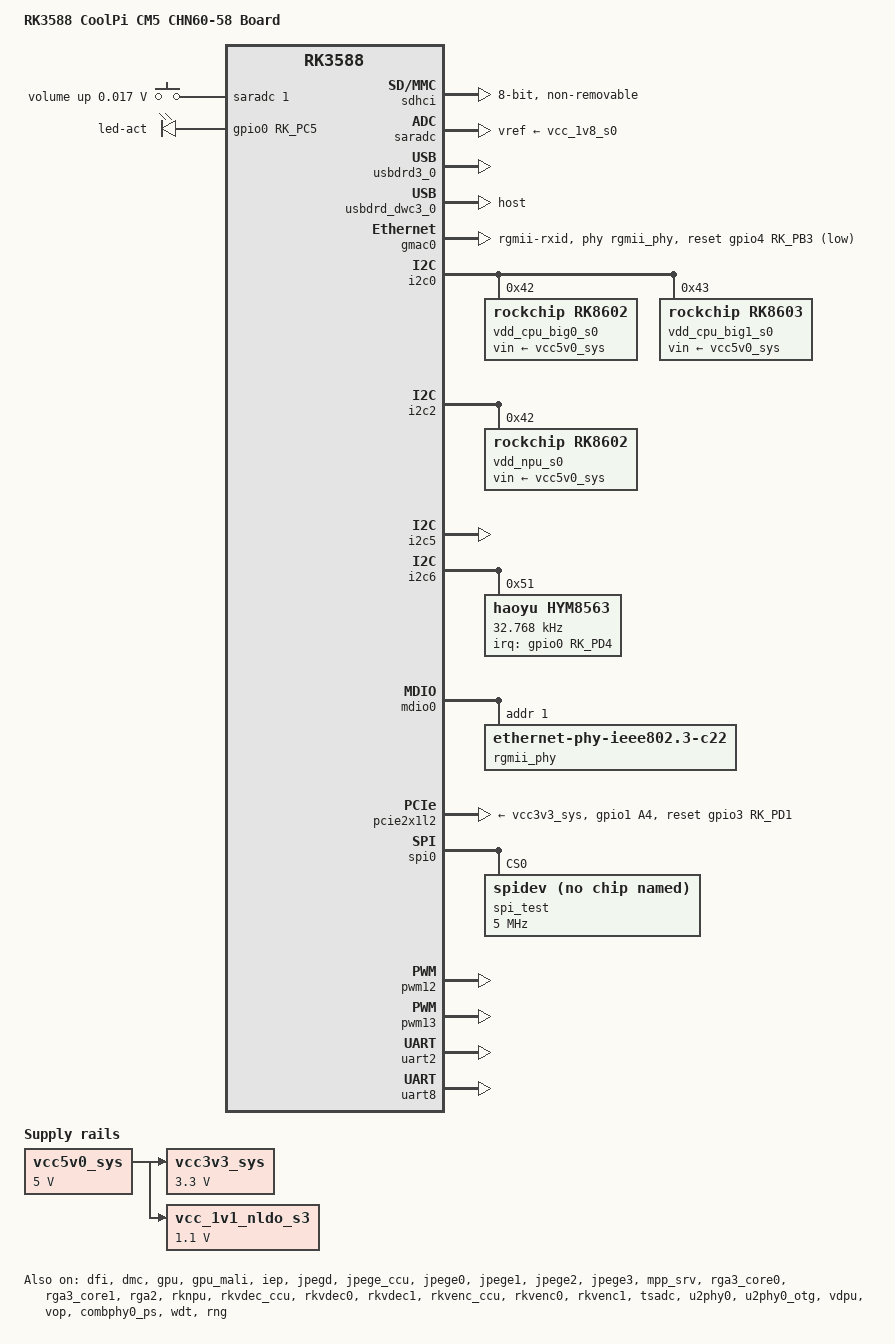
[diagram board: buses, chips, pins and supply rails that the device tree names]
// SPDX-License-Identifier: (GPL-2.0+ OR MIT)
/*
 * Copyright (c) 2021 Rockchip Electronics Co., Ltd.
 *
 */

/dts-v1/;

#include "dt-bindings/usb/pd.h"
#include "rk3588.dtsi"
#include <dt-bindings/gpio/gpio.h>
#include <dt-bindings/pwm/pwm.h>
#include <dt-bindings/pinctrl/rockchip.h>
#include <dt-bindings/input/rk-input.h>
#include <dt-bindings/display/drm_mipi_dsi.h>
#include <dt-bindings/display/rockchip_vop.h>
#include <dt-bindings/sensor-dev.h>
#include "rk3588-rk806-single.dtsi"

/ {
	model = "RK3588 CoolPi CM5 CHN60-58 Board";
	compatible = "rockchip,rk3588-core", "rockchip,rk3588";
	
	aliases {
		mmc0 = &sdhci;
		mmc1 = &sdio;
		mmc2 = &sdmmc;
		serial0 = &uart2;
		serial1 = &uart7;
		serial2 = &uart6;
		serial3 = &uart3;
		serial4 = &uart4;
		serial5 = &uart5;
		serial6 = &uart0;
		serial7 = &uart9;
		serial8 = &uart8;
		serial9 = &uart1;
	};

	cspmu: cspmu@fd10c000 {
		compatible = "rockchip,cspmu";
		reg = <0x0 0xfd10c000 0x0 0x1000>,
		      <0x0 0xfd10d000 0x0 0x1000>,
		      <0x0 0xfd10e000 0x0 0x1000>,
		      <0x0 0xfd10f000 0x0 0x1000>,
		      <0x0 0xfd12c000 0x0 0x1000>,
		      <0x0 0xfd12d000 0x0 0x1000>,
		      <0x0 0xfd12e000 0x0 0x1000>,
		      <0x0 0xfd12f000 0x0 0x1000>;
	};

	debug: debug@fd104000 {
		compatible = "rockchip,debug";
		reg = <0x0 0xfd104000 0x0 0x1000>,
		      <0x0 0xfd105000 0x0 0x1000>,
		      <0x0 0xfd106000 0x0 0x1000>,
		      <0x0 0xfd107000 0x0 0x1000>,
		      <0x0 0xfd124000 0x0 0x1000>,
		      <0x0 0xfd125000 0x0 0x1000>,
		      <0x0 0xfd126000 0x0 0x1000>,
		      <0x0 0xfd127000 0x0 0x1000>;
	};

	fiq_debugger: fiq-debugger {
		compatible = "rockchip,fiq-debugger";
		rockchip,serial-id = <9>;
		rockchip,wake-irq = <0>;
		/* If enable uart uses irq instead of fiq */
		rockchip,irq-mode-enable = <1>;
		rockchip,baudrate = <115200>;  /* Only 115200 and 1500000 */
		interrupts = <GIC_SPI 423 IRQ_TYPE_LEVEL_LOW>;
		pinctrl-names = "default";
		pinctrl-0 = <&uart2m0_xfer>;
		status = "disabled";
	};

	ramoops: ramoops@110000 {
		compatible = "ramoops";
		reg = <0x0 0x110000 0x0 0xf0000>;
		record-size = <0x20000>;
		console-size = <0x80000>;
		ftrace-size = <0x00000>;
		pmsg-size = <0x50000>;
	};

	reserved-memory {
		#address-cells = <2>;
		#size-cells = <2>;
		ranges;

		cma {
			compatible = "shared-dma-pool";
			reusable;
			reg = <0x0 (256 * 0x100000) 0x0 (128 * 0x100000)>;
			linux,cma-default;
		};

		drm_logo: drm-logo@0 {
			compatible = "rockchip,drm-logo";
			reg = <0x0 0x0 0x0 0x0>;
		};
		
		drm_cubic_lut: drm-cubic-lut@0 {
			compatible = "rockchip,drm-cubic-lut";
			reg = <0x0 0x0 0x0 0x0>;
		};
	};
	
	adc_keys: adc-keys {
		compatible = "adc-keys";
		io-channels = <&saradc 1>;
		io-channel-names = "buttons";
		keyup-threshold-microvolt = <1800000>;
		poll-interval = <100>;

		vol-up-key {
			label = "volume up";
			linux,code = <KEY_VOLUMEUP>;
			press-threshold-microvolt = <17000>;
		};
	};

	hdmi0_sound: hdmi0-sound {
		status = "disabled";
		compatible = "rockchip,hdmi";
		rockchip,mclk-fs = <128>;
		rockchip,card-name = "rockchip-hdmi0";
		rockchip,cpu = <&i2s5_8ch>;
		rockchip,codec = <&hdmi0>;
		rockchip,jack-det;
	};
	
	vendor_storage_rm: vendor-storage-rm@0 {
		compatible = "rockchip,vendor-storage-rm";
		reg = <0x0 0x0 0x0 0x0>;
	};
	
	vendor_storage: vendor-storage {
		compatible = "rockchip,ram-vendor-storage";
		memory-region = <&vendor_storage_rm>;
		status = "okay";
	};

	leds: leds {
		status = "okay";
		compatible = "gpio-leds";

		led_act: led_act {
            label = "led-act";
			gpios = <&gpio0 RK_PC5 GPIO_ACTIVE_HIGH>;
			linux,default-trigger="heartbeat";
		};
	};

	vcc5v0_sys: vcc5v0-sys {
		compatible = "regulator-fixed";
		regulator-name = "vcc5v0_sys";
		regulator-always-on;
		regulator-boot-on;
		regulator-min-microvolt = <5000000>;
		regulator-max-microvolt = <5000000>;
	};

	vcc3v3_sys: vcc3v3-sys {
		compatible = "regulator-fixed";
		regulator-name = "vcc3v3_sys";
		regulator-always-on;
		regulator-boot-on;
		regulator-min-microvolt = <3300000>;
		regulator-max-microvolt = <3300000>;
		vin-supply = <&vcc5v0_sys>;

	};

    vcc_1v1_nldo_s3: vcc-1v1-nldo-s3 {
            compatible = "regulator-fixed";
            regulator-name = "vcc_1v1_nldo_s3";
            regulator-always-on;
            regulator-boot-on;
            regulator-min-microvolt = <1100000>;
            regulator-max-microvolt = <1100000>;
            vin-supply = <&vcc5v0_sys>;
    };
	
};

&cpu_l0 {
	cpu-supply = <&vdd_cpu_lit_s0>;
	mem-supply = <&vdd_cpu_lit_mem_s0>;
};

&cpu_b0 {
	cpu-supply = <&vdd_cpu_big0_s0>;
	mem-supply = <&vdd_cpu_big0_mem_s0>;
};

&cpu_b2 {
	cpu-supply = <&vdd_cpu_big1_s0>;
	mem-supply = <&vdd_cpu_big1_mem_s0>;
};

&dfi {
	status = "okay";
};

&dmc {
	auto-freq-en = <1>;
	status = "okay";
};

&sdhci {
	bus-width = <8>;
	no-sdio;
	no-sd;
	non-removable;
	max-frequency = <200000000>;
	mmc-hs400-1_8v;
	mmc-hs400-enhanced-strobe;
	status = "okay";
};

&gpu {
	mali-supply = <&vdd_gpu_s0>;
	mem-supply = <&vdd_gpu_mem_s0>;
	status = "okay";
};

&gpu_mali {
	mali-supply = <&vdd_gpu_s0>;
	mem-supply = <&vdd_gpu_mem_s0>;
	status = "okay";
};

&iep {
	status = "okay";
};

&iep_mmu {
	status = "okay";
};

&jpegd {
	status = "okay";
};

&jpegd_mmu {
	status = "okay";
};

&jpege_ccu {
	status = "okay";
};

&jpege0 {
	status = "okay";
};

&jpege0_mmu {
	status = "okay";
};

&jpege1 {
	status = "okay";
};

&jpege1_mmu {
	status = "okay";
};

&jpege2 {
	status = "okay";
};

&jpege2_mmu {
	status = "okay";
};

&jpege3 {
	status = "okay";
};

&jpege3_mmu {
	status = "okay";
};

&mpp_srv {
	status = "okay";
};

&rga3_core0 {
	status = "okay";
};

&rga3_0_mmu {
	status = "okay";
};

&rga3_core1 {
	status = "okay";
};

&rga3_1_mmu {
	status = "okay";
};

&rga2 {
	status = "okay";
};

&rknpu {
	rknpu-supply = <&vdd_npu_s0>;
	mem-supply = <&vdd_npu_mem_s0>;
	status = "okay";
};

&rknpu_mmu {
	status = "okay";
};

&rkvdec_ccu {
	status = "okay";
};

&rkvdec0 {
	status = "okay";
};

&rkvdec0_mmu {
	status = "okay";
};

&rkvdec1 {
	status = "okay";
};

&rkvdec1_mmu {
	status = "okay";
};

&rkvenc_ccu {
	status = "okay";
};

&rkvenc0 {
	status = "okay";
};

&rkvenc0_mmu {
	status = "okay";
};

&rkvenc1 {
	status = "okay";
};

&rkvenc1_mmu {
	status = "okay";
};

&rockchip_suspend {
	status = "okay";
	rockchip,sleep-debug-en = <1>;
};

&saradc {
	status = "okay";
	vref-supply = <&vcc_1v8_s0>;
};

&tsadc {
	status = "okay";
};

&u2phy0 {
	status = "okay";
};

&u2phy1 {
	status = "disabled";
};

&u2phy2 {
	status = "disabled";
};

&u2phy3 {
	status = "disabled";
};

&u2phy0_otg {
	status = "okay";
};

&u2phy1_otg {
	status = "disabled";
};

&u2phy2_host {
	status = "disabled";
};

&u2phy3_host {
	status = "disabled";
};

&usb_host0_ehci {
	status = "disabled";
};

&usb_host0_ohci {
	status = "disabled";
};

&usb_host1_ehci {
	status = "disabled";
};

&usb_host1_ohci {
	status = "disabled";
};

&usbdp_phy0 {
    status = "disabled";
};

&usbdp_phy0_u3 {
    status = "disabled";
};

&usbdp_phy1 {
    status = "disabled";
};

&usbdp_phy1_u3 {
    status = "disabled";
};

&usbdrd3_0 {
    status = "okay";
};

&usbdrd_dwc3_0 {
    dr_mode = "host";
    status = "okay";
};

&usbdrd3_1 {
	status = "disabled";
};

&usbdrd_dwc3_1 {
	status = "disabled";
};

&vdpu {
	status = "okay";
};

&vdpu_mmu {
	status = "okay";
};

&vop {
	status = "okay";
};

&vop_mmu {
	status = "okay";
};

/* vp0 & vp1 splice for 8K output */
&vp0 {
	cursor-win-id=<ROCKCHIP_VOP2_CLUSTER0>;
	rockchip,plane-mask = <(1 << ROCKCHIP_VOP2_CLUSTER0 | 1 << ROCKCHIP_VOP2_ESMART0)>;
	rockchip,primary-plane = <ROCKCHIP_VOP2_ESMART0>;
};

&vp1 {
	cursor-win-id=<ROCKCHIP_VOP2_CLUSTER1>;
	rockchip,plane-mask = <(1 << ROCKCHIP_VOP2_CLUSTER1 | 1 << ROCKCHIP_VOP2_ESMART1)>;
	rockchip,primary-plane = <ROCKCHIP_VOP2_ESMART1>;
};

&vp2 {
	cursor-win-id=<ROCKCHIP_VOP2_CLUSTER2>;
	rockchip,plane-mask = <(1 << ROCKCHIP_VOP2_CLUSTER2 | 1 << ROCKCHIP_VOP2_ESMART2)>;
	rockchip,primary-plane = <ROCKCHIP_VOP2_ESMART2>;
};

&vp3 {
	cursor-win-id=<ROCKCHIP_VOP2_CLUSTER3>;
	rockchip,plane-mask = <(1 << ROCKCHIP_VOP2_CLUSTER3 | 1 << ROCKCHIP_VOP2_ESMART3)>;
	rockchip,primary-plane = <ROCKCHIP_VOP2_ESMART3>;
};

&gmac0 {
	/* Use rgmii-rxid mode to disable rx delay inside Soc */
	phy-mode = "rgmii-rxid";
	clock_in_out = "output";

	snps,reset-gpio = <&gpio4 RK_PB3 GPIO_ACTIVE_LOW>;
	snps,reset-active-low;
	/* Reset time is 20ms, 100ms for rtl8211f */
	snps,reset-delays-us = <0 20000 100000>;

	pinctrl-names = "default";
	pinctrl-0 = <&gmac0_miim
		     &gmac0_tx_bus2
		     &gmac0_rx_bus2
		     &gmac0_rgmii_clk
		     &gmac0_rgmii_bus>;

	tx_delay = <0x44>;
	/* rx_delay = <0x3f>; */

	phy-handle = <&rgmii_phy>;
	status = "okay";
};

&hdmi0 {
	enable-gpios = <&gpio4 RK_PB0 GPIO_ACTIVE_HIGH>;
	status = "disabled";
};

&hdmi0_in_vp0 {
	status = "disabled";
};

&route_hdmi0 {
	status = "disabled";
	logo,uboot = "logo.bmp";
	logo,kernel = "logo_kernel.bmp";
	logo,mode = "center";
	charge_logo,mode = "center";
	connect = <&vp0_out_hdmi0>;
};

&hdptxphy_hdmi0 {
	status = "disabled";
};

&i2c0 {
	status = "okay";
	pinctrl-names = "default";
	pinctrl-0 = <&i2c0m2_xfer>;

	vdd_cpu_big0_s0: vdd_cpu_big0_mem_s0: rk8602@42 {
		compatible = "rockchip,rk8602";
		reg = <0x42>;
		vin-supply = <&vcc5v0_sys>;
		regulator-compatible = "rk860x-reg";
		regulator-name = "vdd_cpu_big0_s0";
		regulator-min-microvolt = <550000>;
		regulator-max-microvolt = <1050000>;
		regulator-ramp-delay = <2300>;
		rockchip,suspend-voltage-selector = <1>;
		regulator-boot-on;
		regulator-always-on;
		regulator-state-mem {
			regulator-off-in-suspend;
		};
	};

	vdd_cpu_big1_s0: vdd_cpu_big1_mem_s0: rk8603@43 {
		compatible = "rockchip,rk8603";
		reg = <0x43>;
		vin-supply = <&vcc5v0_sys>;
		regulator-compatible = "rk860x-reg";
		regulator-name = "vdd_cpu_big1_s0";
		regulator-min-microvolt = <550000>;
		regulator-max-microvolt = <1050000>;
		regulator-ramp-delay = <2300>;
		rockchip,suspend-voltage-selector = <1>;
		regulator-boot-on;
		regulator-always-on;
		regulator-state-mem {
			regulator-off-in-suspend;
		};
	};
};

&i2c2 {
	status = "okay";

	vdd_npu_s0: vdd_npu_mem_s0: rk8602@42 {
		compatible = "rockchip,rk8602";
		reg = <0x42>;
		vin-supply = <&vcc5v0_sys>;
		regulator-compatible = "rk860x-reg";
		regulator-name = "vdd_npu_s0";
		regulator-min-microvolt = <550000>;
		regulator-max-microvolt = <950000>;
		regulator-ramp-delay = <2300>;
		rockchip,suspend-voltage-selector = <1>;
		regulator-boot-on;
		regulator-always-on;
		regulator-state-mem {
			regulator-off-in-suspend;
		};
	};
};

&i2c5 {
	status = "okay";
	pinctrl-names = "default";
	pinctrl-0 = <&i2c5m2_xfer>;
};

&i2c6 {
	status = "okay";
	hym8563: hym8563@51 {
		compatible = "haoyu,hym8563";
		reg = <0x51>;
		#clock-cells = <0>;
		clock-frequency = <32768>;
		clock-output-names = "hym8563";
		pinctrl-names = "default";
		pinctrl-0 = <&hym8563_int>;
		interrupt-parent = <&gpio0>;
		interrupts = <RK_PD4 IRQ_TYPE_LEVEL_LOW>;
		wakeup-source;
	};
};

&mdio0 {
	rgmii_phy: phy@1 {
		compatible = "ethernet-phy-ieee802.3-c22";
		reg = <0x1>;
	};
};

&combphy0_ps {
    status = "okay";
};

//ethernet
&pcie2x1l2 {
	reset-gpios = <&gpio3 RK_PD1 GPIO_ACTIVE_HIGH>;
	vpcie3v3-supply = <&vcc3v3_sys>;
	pinctrl-names = "default";
	pinctrl-0 = <&rtl8111_isolate>;
	status = "okay";
};

&spi0 {
	pinctrl-names = "default";
    pinctrl-0 = <&spi0m1_cs0 &spi0m1_pins>;
    num-cs = <1>;
	status = "okay";
	max-freq = <50000000>;
	
	spi_test@0 {
		compatible = "rockchip,spidev";
		reg = <0>;
		spi-max-frequency = <5000000>;
	};
};

&wdt{
	status = "okay";
};

&pwm12 {
	status = "okay";
	pinctrl-0 = <&pwm12m1_pins>;
};

&pwm13 {
	status = "okay";
	pinctrl-0 = <&pwm13m1_pins>;
};

&uart2 {
	status = "okay";
	pinctrl-names = "default";
	pinctrl-0 = <&uart2m0_xfer>;
};

&uart8 {
	status = "okay";
	pinctrl-names = "default";
	pinctrl-0 = <&uart8m0_xfer>;
};

&rng {
	status = "okay";
};

&pinctrl {
	hym8563 {
		hym8563_int: hym8563-int {
			rockchip,pins = <0 RK_PD4 RK_FUNC_GPIO &pcfg_pull_up>;
		};
	};

	rtl8111 {
		rtl8111_isolate: rtl8111-isolate {
			rockchip,pins = <1 RK_PA4 RK_FUNC_GPIO &pcfg_pull_up>;
		};
	};
};

